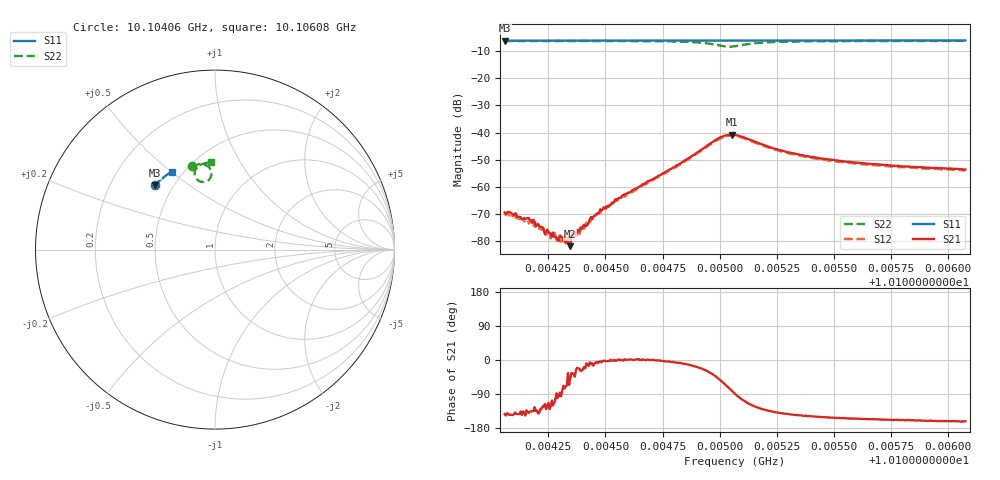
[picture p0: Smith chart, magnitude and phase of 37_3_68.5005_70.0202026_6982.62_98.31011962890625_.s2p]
#  HZ  S  RI  R  50.00
! Rohde & Schwarz Vector Network Analyzer
! Rohde-Schwarz,ZNB20-2Port,1311601062101988,3.16
! Created: UTC 3/20/2024, 4:50:11 PM
! freq[Hz]  re:S11  im:S11  re:S21  im:S21  re:S12  im:S12  re:S22  im:S22
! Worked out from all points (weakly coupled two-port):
!   401 points, 10.10406 GHz to 10.10608 GHz, reference 50 ohm
!   highest |S21| = -40.76 dB at 10.10505 GHz (marker M1); lowest = -81.8 dB at 10.10435 GHz (marker M2)
!   lowest |S11| = -6.2 dB at 10.10406 GHz (marker M3), VSWR 2.93, Z = 19.8 + j18.7 ohm
!   |S11| at or under -10 dB: nowhere
!   |S22| runs from -8.4 to -6.2 dB; largest |S21 - S12| = 0.00092
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1.0104058e10  -0.336 0.3587  -0.000269 -0.000205  -0.000241 -0.000216  -0.1307 0.4659
1.0104084e10  -0.3348 0.3598  -0.000277 -0.000199  -0.000224 -0.000218  -0.1289 0.4666
1.0104164e10  -0.3314 0.3633  -0.000204 -0.000174  -0.000136 -0.000165  -0.1229 0.4681
1.01042e10  -0.3299 0.3649  -0.000138 -0.000148  -9.95e-05 -0.000149  -0.1203 0.4688
1.010423e10  -0.3286 0.3661  -8.6e-05 -0.000135  -8.76e-05 -0.000149  -0.1179 0.4695
1.0104285e10  -0.3261 0.3686  3.92e-06 -0.000117  -5.1e-06 -0.000105  -0.1137 0.4707
1.0104296e10  -0.3256 0.3689  -9.82e-06 -0.000102  5.26e-06 -0.000129  -0.1129 0.4709
1.0104311e10  -0.3249 0.3696  1.58e-05 -0.000116  3.81e-06 -9.06e-05  -0.1117 0.4711
1.0104336e10  -0.3237 0.3707  8.21e-05 -5.64e-05  6.27e-05 -0.000103  -0.1098 0.4715
1.0104346e10  -0.3234 0.371  5.42e-05 -6.08e-05  6.07e-05 -9.14e-05  -0.1089 0.4717
1.0104396e10  -0.3211 0.3732  0.000149 -7.94e-05  0.000169 -5.01e-05  -0.1048 0.4725
1.0104417e10  -0.3203 0.374  0.000189 -2.99e-05  0.000213 -5.39e-05  -0.1028 0.4729
1.0104467e10  -0.3181 0.3762  0.000323 -4.61e-05  0.000329 -2.43e-05  -0.0984 0.4737
1.0104548e10  -0.3143 0.3793  0.0006 -1.9e-05  0.000553 3.1e-05  -0.0907 0.4749
1.0104734e10  -0.3058 0.387  0.00163 -2.84e-05  0.00154 9.33e-05  -0.0673 0.4748
1.0104992e10  -0.2933 0.3966  0.00519 -0.00568  0.00549 -0.00497  -0.0224 0.4069
1.0105052e10  -0.2907 0.3985  0.00146 -0.00905  0.0022 -0.00856  -0.0687 0.3768
1.0105067e10  -0.2901 0.3991  0.0001 -0.00905  0.000861 -0.00869  -0.0831 0.3796
1.0105254e10  -0.2816 0.4064  -0.00367 -0.00323  -0.00323 -0.00343  -0.1018 0.4564
1.0105405e10  -0.2742 0.4119  -0.00304 -0.00187  -0.00276 -0.00203  -0.0819 0.4719
1.0105743e10  -0.2574 0.4238  -0.00231 -0.000946  -0.00212 -0.00109  -0.0502 0.4827
1.0106076e10  -0.2401 0.4345  -0.00199 -0.00066  -0.00183 -0.000791  -0.025 0.4869
